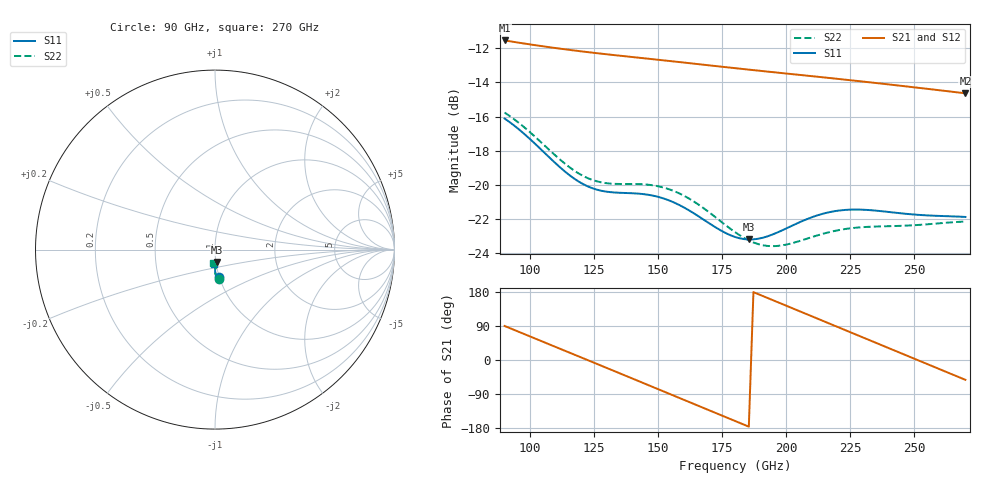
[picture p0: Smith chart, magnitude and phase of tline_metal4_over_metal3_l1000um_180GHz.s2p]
#  GHZ S DB R 50
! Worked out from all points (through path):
!   101 points, 90 GHz to 270 GHz, reference 50 ohm
!   highest |S21| = -11.53 dB at 90 GHz (marker M1); lowest = -14.6 dB at 270 GHz (marker M2)
!   group delay of S21, straight-line fit = 7.75 ps
!   lowest |S11| = -23.2 dB at 185.4 GHz (marker M3), VSWR 1.15, Z = 50.4 - j6.93 ohm
!   |S11| at or under -10 dB: start of sweep to end of sweep
!   |S22| runs from -23.6 to -15.8 dB; largest |S21 - S12| = 3.7e-13
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90  -16.12 -82.8  -11.53 89.8  -11.53 89.8  -15.77 -82.6
97.2  -16.96 -86.7  -11.70 69.8  -11.70 69.8  -16.57 -86.9
106.2  -18.22 -89.6  -11.90 44.8  -11.90 44.8  -17.79 -90.2
113.4  -19.21 -89.5  -12.05 24.8  -12.05 24.8  -18.75 -90.5
120.6  -19.96 -87.6  -12.19 4.8  -12.19 4.8  -19.49 -89.1
127.8  -20.36 -85.2  -12.31 -15.2  -12.31 -15.2  -19.87 -87.2
135  -20.48 -84.0  -12.43 -35.2  -12.43 -35.2  -19.96 -86.4
144  -20.55 -85.0  -12.57 -60.3  -12.57 -60.3  -19.98 -88.0
151.2  -20.77 -87.0  -12.69 -80.4  -12.69 -80.4  -20.14 -90.9
163.8  -21.67 -90.1  -12.89 -115.6  -12.89 -115.6  -20.98 -96.4
172.8  -22.54 -89.3  -13.04 -140.8  -13.04 -140.8  -21.96 -98.2
180  -23.07 -86.1  -13.16 -160.8  -13.16 -160.8  -22.79 -97.1
185.4  -23.22 -83.0  -13.25 -175.9  -13.25 -175.9  -23.28 -94.9
196.2  -22.83 -77.9  -13.42 153.9  -13.42 153.9  -23.60 -88.9
210.6  -21.88 -78.4  -13.64 113.7  -13.64 113.7  -23.05 -85.2
217.8  -21.59 -80.8  -13.75 93.6  -13.75 93.6  -22.76 -85.7
225  -21.47 -83.7  -13.87 73.5  -13.87 73.5  -22.57 -87.1
232.2  -21.49 -86.3  -13.99 53.3  -13.99 53.3  -22.48 -88.7
241.2  -21.62 -88.9  -14.14 28.2  -14.14 28.2  -22.44 -90.4
248.4  -21.74 -90.4  -14.26 8.0  -14.26 8.0  -22.40 -91.7
255.6  -21.81 -91.7  -14.38 -12.1  -14.38 -12.1  -22.32 -93.0
270  -21.90 -94.8  -14.64 -52.3  -14.64 -52.3  -22.17 -97.0
